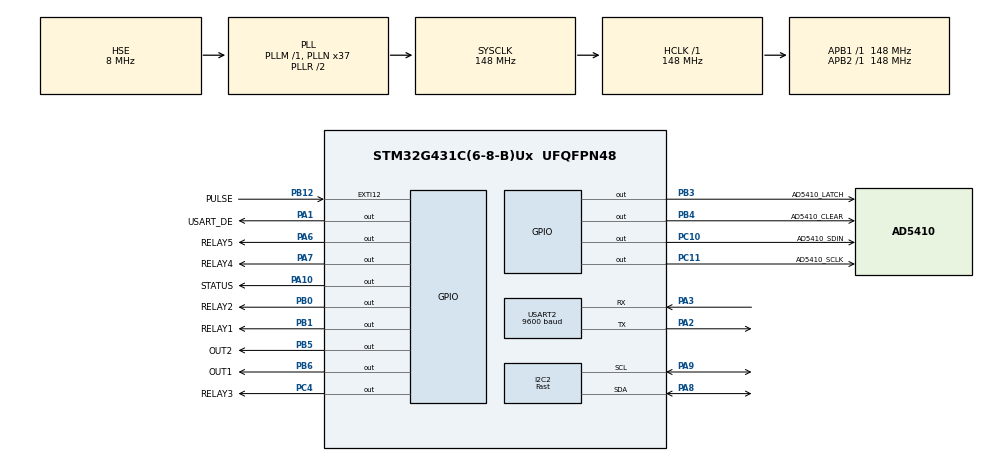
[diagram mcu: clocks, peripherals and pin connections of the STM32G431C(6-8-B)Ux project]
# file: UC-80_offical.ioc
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I2C2.CustomTiming=Disabled
I2C2.I2C_Speed_Mode=I2C_Fast
I2C2.Timing=0x00E05FFE
IWDG.Prescaler=IWDG_PRESCALER_32
Mcu.Family=STM32G4
Mcu.Name=STM32G431C(6-8-B)Ux
Mcu.Package=UFQFPN48
NVIC.EXTI15_10_IRQn=true\:0\:0\:false\:false\:true\:true\:true\:true
NVIC.PriorityGroup=NVIC_PRIORITYGROUP_4
NVIC.TIM1_TRG_COM_TIM17_IRQn=true\:0\:0\:false\:false\:true\:true\:true\:true
NVIC.TIM7_IRQn=true\:0\:0\:false\:false\:true\:true\:true\:true
NVIC.USART2_IRQn=true\:0\:0\:false\:false\:true\:true\:true\:true
PA1.GPIO_Label=USART_DE
PA1.Signal=GPIO_Output
PA10.GPIO_Label=STATUS
PA10.Signal=GPIO_Output
PA13.Mode=Serial_Wire
PA13.Signal=SYS_JTMS-SWDIO
PA14.Mode=Serial_Wire
PA14.Signal=SYS_JTCK-SWCLK
PA2.Mode=Asynchronous
PA2.Signal=USART2_TX
PA3.Mode=Asynchronous
PA3.Signal=USART2_RX
PA6.GPIO_Label=RELAY5
PA6.Signal=GPIO_Output
PA7.GPIO_Label=RELAY4
PA7.Signal=GPIO_Output
PA8.Mode=I2C
PA8.Signal=I2C2_SDA
PA9.Mode=I2C
PA9.Signal=I2C2_SCL
PB0.GPIO_Label=RELAY2
PB0.Signal=GPIO_Output
PB1.GPIO_Label=RELAY1
PB1.Signal=GPIO_Output
PB12.GPIO_Label=PULSE
PB12.GPIO_ModeDefaultEXTI=GPIO_MODE_IT_FALLING
PB12.GPIO_PuPd=GPIO_PULLUP
PB12.Signal=GPXTI12
PB3.GPIO_Label=AD5410_LATCH
PB3.Signal=GPIO_Output
PB4.GPIO_Label=AD5410_CLEAR
PB4.Signal=GPIO_Output
PB5.GPIO_Label=OUT2
PB5.Signal=GPIO_Output
PB6.GPIO_Label=OUT1
PB6.Signal=GPIO_Output
PC10.GPIO_Label=AD5410_SDIN
PC10.Signal=GPIO_Output
PC11.GPIO_Label=AD5410_SCLK
PC11.Signal=GPIO_Output
PC14-OSC32_IN.Mode=LSE-External-Oscillator
PC14-OSC32_IN.Signal=RCC_OSC32_IN
PC15-OSC32_OUT.Mode=LSE-External-Oscillator
PC15-OSC32_OUT.Signal=RCC_OSC32_OUT
PC4.GPIO_Label=RELAY3
PC4.Signal=GPIO_Output
PF0-OSC_IN.Mode=HSE-External-Oscillator
PF0-OSC_IN.Signal=RCC_OSC_IN
PF1-OSC_OUT.Mode=HSE-External-Oscillator
PF1-OSC_OUT.Signal=RCC_OSC_OUT
ProjectManager.HeapSize=0x200
ProjectManager.StackSize=0x400
ProjectManager.TargetToolchain=STM32CubeIDE
RCC.ADC12Freq_Value=148000000
RCC.AHBFreq_Value=148000000
RCC.APB1Freq_Value=148000000
RCC.APB1TimFreq_Value=148000000
RCC.APB2Freq_Value=148000000
RCC.APB2TimFreq_Value=148000000
RCC.CortexFreq_Value=148000000
RCC.EXTERNAL_CLOCK_VALUE=12288000
RCC.HCLKFreq_Value=148000000
RCC.HSE_VALUE=8000000
RCC.HSI48_VALUE=48000000
RCC.HSI_VALUE=16000000
RCC.PLLN=37
RCC.PLLSourceVirtual=RCC_PLLSOURCE_HSE
RCC.SYSCLKFreq_VALUE=148000000
RCC.SYSCLKSource=RCC_SYSCLKSOURCE_PLLCLK
RCC.USBFreq_Value=148000000
RCC.VCOOutputFreq_Value=296000000
TIM16.PeriodNoDither=1
TIM16.Prescaler=147
TIM17.PeriodNoDither=49
TIM17.Prescaler=7399
TIM7.PeriodNoDither=5000
TIM7.Prescaler=14799
USART2.BaudRate=9600
USART2.OverrunDisableParam=ADVFEATURE_OVERRUN_DISABLE
USART2.Parity=PARITY_EVEN
USART2.VirtualMode-Asynchronous=VM_ASYNC
USART2.WordLength=WORDLENGTH_9B
VP_IWDG_VS_IWDG.Mode=IWDG_Activate
VP_TIM16_VS_ClockSourceINT.Mode=Enable_Timer
VP_TIM17_VS_ClockSourceINT.Mode=Enable_Timer
VP_TIM7_VS_ClockSourceINT.Mode=Enable_Timer
board=custom

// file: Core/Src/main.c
/* USER CODE BEGIN Header */
/**
  ******************************************************************************
  * @file           : main.c
  * @brief          : Main program body
  ******************************************************************************
  * @attention
  *
  * Copyright (c) 2023 STMicroelectronics.
  * All rights reserved.
  *
  * This software is licensed under terms that can be found in the LICENSE file
  * in the root directory of this software component.
  * If no LICENSE file comes with this software, it is provided AS-IS.
  *
  ******************************************************************************
  */
/* USER CODE END Header */
#include "main.h"

/* USER CODE BEGIN Includes */
#include "mb.h"
#include "mbport.h"
#include "portrw.h"
#include "DAC5410.h"
#include "MS1112.h"
/* USER CODE END Includes */

/* USER CODE BEGIN PTD */
SYS_TypeDef sys;
/* USER CODE END PTD */

/* USER CODE BEGIN PD */
#define AI_SOOMTH_PAR (0.2)

#define OUTV1(x)  HAL_GPIO_WritePin(OUT1_GPIO_Port, OUT1_Pin, x)
#define OUTV2(x)  HAL_GPIO_WritePin(OUT2_GPIO_Port, OUT2_Pin, x)

#define RELAY1(x) HAL_GPIO_WritePin(RELAY1_GPIO_Port, RELAY1_Pin, x)
#define RELAY2(x) HAL_GPIO_WritePin(RELAY2_GPIO_Port, RELAY2_Pin, x)
#define RELAY3(x) HAL_GPIO_WritePin(RELAY3_GPIO_Port, RELAY3_Pin, x)
#define RELAY4(x) HAL_GPIO_WritePin(RELAY4_GPIO_Port, RELAY4_Pin, x)
#define RELAY5(x) HAL_GPIO_WritePin(RELAY5_GPIO_Port, RELAY5_Pin, x)

#define MB_POLL_MS 50

/* USER CODE END PD */

I2C_HandleTypeDef hi2c2;

IWDG_HandleTypeDef hiwdg;

TIM_HandleTypeDef htim7;
TIM_HandleTypeDef htim16;
TIM_HandleTypeDef htim17;

UART_HandleTypeDef huart2;

/* USER CODE BEGIN PV */

CONTROL_SETTINGS_t control_settings = {
    .usOutV1  = 1,
    .usOutV2  = 1,
};

CONTROL_RELAY_t control_relay = {
    .usRelay1=  0,
	.usRelay2=  0,
	.usRelay3=  0,
	.usRelay4=  0,
	.usRelay5=  0,
};

/* USER CODE END PV */

void SystemClock_Config(void);
static void MX_GPIO_Init(void);
static void MX_TIM17_Init(void);
static void MX_USART2_UART_Init(void);
static void MX_I2C2_Init(void);
static void MX_TIM16_Init(void);
static void MX_IWDG_Init(void);
static void MX_TIM7_Init(void);

/* USER CODE BEGIN 0 */
MA2AI2AOREG_TypeDef Ma2Ai2AoReg;
PULSE_TypeDef PulseReg;

uint16_t pulse_num = 0;
uint16_t freq = 0;
uint8_t level = 0;

uint16_t ModbusPollCount=0;

uint8_t pulse_flag = 0;

extern void SystemTickCallBack(void);
void SystemTickCallBack(void)
{
	  ModbusPollCount++;
	  if(ModbusPollCount>MB_POLL_MS)
	  {
		 eMBPoll();
		 ModbusPollCount=0;
	  }
}

void HAL_GPIO_EXTI_Callback(uint16_t GPIO_Pin)
{
	/* Pulse count  */
	if(GPIO_Pin == PULSE_Pin)
	{
      if (pulse_num < 10000)
      {
        pulse_num++;
      }
	   else if ( pulse_num ==0)
	  {
	   	 pulse_flag = 0;
	  }
	}
}

uint8_t RequestAddr=0;

FLASH_ADDR gFlashAddr;

void Flash_Init(void)
{
//flash addr------------128K bytes--------------------------------------------
		//no boot code

		gFlashAddr.ParaSize = 8 * FLASH_PAGE_SIZE;					//8*1024	cct6 256kb
		gFlashAddr.ParaAddr = FLASH_SIZE - gFlashAddr.ParaSize;		//256 *1024	-16384

}

static uint32_t GetPage(uint32_t Addr)
{
	uint32_t page = 0;

	if (Addr < (FLASH_BASE + FLASH_BANK_SIZE))
	{
	/* Bank 1 */
	page = (Addr - FLASH_BASE) / FLASH_PAGE_SIZE;
	}
	else
	{
	/* Bank 2 */
	page = (Addr - (FLASH_BASE + FLASH_BANK_SIZE)) / FLASH_PAGE_SIZE;
	}

	return page;
}

uint32_t FirstPage = 0, NbOfPages = 0, BankNumber = 0;
uint32_t PAGEError = 0;
int16_t Flash_Write(uint32_t addr, uint8_t *pData, uint32_t len)
{
	static FLASH_EraseInitTypeDef EraseInitStruct;
	int16_t rc;
	uint32_t Addr;
	uint64_t data64;
	uint32_t count;

	count = 0;
	rc = 0;
	Addr = addr;

	HAL_FLASH_Unlock();

	while (count < len)
	{
		if (Addr % FLASH_PAGE_SIZE == 0)
		{
			/* Clear OPTVERR bit set on virgin samples */
			__HAL_FLASH_CLEAR_FLAG(FLASH_FLAG_OPTVERR);
			/* Get the 1st page to erase */
			FirstPage = GetPage(addr);
			/* Get the number of pages to erase from 1st page */
			NbOfPages = 1;//GetPage(FLASH_USER_END_ADDR) - FirstPage + 1;
			/* Get the bank */
			BankNumber = FLASH_BANK_1;

			/* Fill EraseInit structure*/
			EraseInitStruct.TypeErase   = FLASH_TYPEERASE_PAGES;
			EraseInitStruct.Banks       = BankNumber;
			EraseInitStruct.Page        = FirstPage;
			EraseInitStruct.NbPages     = NbOfPages;
			if (HAL_FLASHEx_Erase(&EraseInitStruct, &PAGEError) != HAL_OK)
			{
       		   rc = -1;
       		   break;
			}
		}

		data64 = pData[count + 7];
		data64 <<= 8;
		data64 += pData[count + 6];
		data64 <<= 8;
		data64 += pData[count + 5];
		data64 <<= 8;
		data64 += pData[count + 4];
		data64 <<= 8;
		data64 += pData[count + 3];
		data64 <<= 8;
		data64 += pData[count + 2];
		data64 <<= 8;
		data64 += pData[count + 1];
		data64 <<= 8;
		data64 += pData[count];

		if (HAL_FLASH_Program(FLASH_TYPEPROGRAM_DOUBLEWORD, Addr, data64) != HAL_OK)
		{
			rc = -2;
			break;
		}
		count += 8;
		Addr += 8;
	}
	HAL_FLASH_Lock();

	return rc;
}

int16_t Flash_Read(uint32_t addr, uint8_t *pData, uint32_t len)
{
	int rc;
	uint32_t Addr;
	uint64_t data64;
	uint32_t count;
	int i;

	count = 0;
	rc = 0;
	Addr = addr;

	while (count < len)
	{
		data64 = *(__IO uint64_t *)Addr;
		for (i = 0; i < 8 && count + i < len; i++)
			pData[count + i] = (data64 >> (i * 8));
		count += 8;
		Addr += 8;
	}

	return rc;
}

int16_t Flash_SaveSysConfig(SYS_TypeDef *sys)
{
    return Flash_Write(gFlashAddr.ParaAddr, (uint8_t *)sys, sizeof(SYS_TypeDef));
}

int16_t Flash_LoadSysConfig(SYS_TypeDef *sys)
{
    int rc = 0;
    rc = Flash_Read(gFlashAddr.ParaAddr, (uint8_t *)sys, sizeof(SYS_TypeDef));

    if (sys->Baudrate < 1200 || sys->Baudrate > 115200)
    {
    	return rc = -1;
    }
    if ( sys->Parity > MB_PAR_EVEN)
	{
		return rc = -2;
	}
    return rc;
}

/* USER CODE END 0 */

int main(void)
{

  /* MCU Configuration--------------------------------------------------------*/

  /* Reset of all peripherals, Initializes the Flash interface and the Systick. */
  HAL_Init();

  /* USER CODE BEGIN Init */
  Flash_Init();
  if((Flash_LoadSysConfig(&sys))!= HAL_OK)
  {
	  sys.Baudrate = 9600;
	  sys.Parity = MB_PAR_EVEN;
	  Flash_SaveSysConfig(&sys);
  };
  /* USER CODE END Init */

  /* Configure the system clock */
  SystemClock_Config();

  /* Initialize all configured peripherals */
  MX_GPIO_Init();
  MX_TIM17_Init();
  MX_USART2_UART_Init();
  MX_I2C2_Init();
  MX_TIM16_Init();
  MX_IWDG_Init();
  MX_TIM7_Init();
  /* USER CODE BEGIN 2 */
  Ma2Ai2AoReg.AI1 = 1;
  Ma2Ai2AoReg.AI2 = 2;
  Ma2Ai2AoReg.AO1 = 400;
  Ma2Ai2AoReg.AO2 = 400;
  PulseReg.usLevel_status = 0;
  PulseReg.usPulse_num = 0;
  HAL_TIM_Base_Start_IT(&htim7);

  AD5410_init();
  AD5410_IOUTx100(Ma2Ai2AoReg.AO2,Ma2Ai2AoReg.AO1);

  eMBInit(MB_RTU,FLOW_SLAVE_ADDR,0, sys.Baudrate, sys.Parity);
  eMBEnable();
  /* USER CODE END 2 */

  /* Infinite loop */
  while (1)
  {

    /* USER CODE BEGIN 3 */
	  /* Power_switch*/
	  OUTV1(control_settings.usOutV1 == 0 ? 0 : 1);
	  OUTV2(control_settings.usOutV2 == 0 ? 0 : 1);
	  /* Relay control  */
	  RELAY1(control_relay.usRelay1 == 0 ? 0 : 1);
	  RELAY2(control_relay.usRelay2 == 0 ? 0 : 1);
	  RELAY3(control_relay.usRelay3 == 0 ? 0 : 1);
	  RELAY4(control_relay.usRelay4 == 0 ? 0 : 1);
	  RELAY5(control_relay.usRelay5 == 0 ? 0 : 1);
	  /* AI AO  */
	  AD5410_IOUTx100(Ma2Ai2AoReg.AO2,Ma2Ai2AoReg.AO1);
	  Ma2Ai2AoReg.AI1= GetCurrentmAx1000(0)*AI_SOOMTH_PAR + Ma2Ai2AoReg.AI1*(1.0-AI_SOOMTH_PAR);
	  Ma2Ai2AoReg.AI2= GetCurrentmAx1000(1)*AI_SOOMTH_PAR + Ma2Ai2AoReg.AI2*(1.0-AI_SOOMTH_PAR);
	  if (HAL_GPIO_ReadPin(PULSE_GPIO_Port, PULSE_Pin)==0)
	  {
		  level = 1;
	  }
	  else
	  {
		  level = 0;
	  }
	  PulseReg.usLevel_status = level;
	  if(MODBUS_isRegWrite)
	  {
		  MODBUS_isRegWrite = 0;
		  Flash_SaveSysConfig(&sys);
	  }
	  HAL_IWDG_Refresh(&hiwdg);
  }
  /* USER CODE END 3 */
}

void SystemClock_Config(void)
{
  RCC_OscInitTypeDef RCC_OscInitStruct = {0};
  RCC_ClkInitTypeDef RCC_ClkInitStruct = {0};

  /** Configure the main internal regulator output voltage
  */
  HAL_PWREx_ControlVoltageScaling(PWR_REGULATOR_VOLTAGE_SCALE1);

  /** Initializes the RCC Oscillators according to the specified parameters
  * in the RCC_OscInitTypeDef structure.
  */
  RCC_OscInitStruct.OscillatorType = RCC_OSCILLATORTYPE_LSI|RCC_OSCILLATORTYPE_HSE;
  RCC_OscInitStruct.HSEState = RCC_HSE_ON;
  RCC_OscInitStruct.LSIState = RCC_LSI_ON;
  RCC_OscInitStruct.PLL.PLLState = RCC_PLL_ON;
  RCC_OscInitStruct.PLL.PLLSource = RCC_PLLSOURCE_HSE;
  RCC_OscInitStruct.PLL.PLLM = RCC_PLLM_DIV1;
  RCC_OscInitStruct.PLL.PLLN = 37;
  RCC_OscInitStruct.PLL.PLLP = RCC_PLLP_DIV2;
  RCC_OscInitStruct.PLL.PLLQ = RCC_PLLQ_DIV2;
  RCC_OscInitStruct.PLL.PLLR = RCC_PLLR_DIV2;
  if (HAL_RCC_OscConfig(&RCC_OscInitStruct) != HAL_OK)
  {
    Error_Handler();
  }

  /** Initializes the CPU, AHB and APB buses clocks
  */
  RCC_ClkInitStruct.ClockType = RCC_CLOCKTYPE_HCLK|RCC_CLOCKTYPE_SYSCLK
                              |RCC_CLOCKTYPE_PCLK1|RCC_CLOCKTYPE_PCLK2;
  RCC_ClkInitStruct.SYSCLKSource = RCC_SYSCLKSOURCE_PLLCLK;
  RCC_ClkInitStruct.AHBCLKDivider = RCC_SYSCLK_DIV1;
  RCC_ClkInitStruct.APB1CLKDivider = RCC_HCLK_DIV1;
  RCC_ClkInitStruct.APB2CLKDivider = RCC_HCLK_DIV1;

  if (HAL_RCC_ClockConfig(&RCC_ClkInitStruct, FLASH_LATENCY_4) != HAL_OK)
  {
    Error_Handler();
  }
}

static void MX_I2C2_Init(void)
{

  hi2c2.Instance = I2C2;
  hi2c2.Init.Timing = 0x00E05FFE;
  hi2c2.Init.OwnAddress1 = 0;
  hi2c2.Init.AddressingMode = I2C_ADDRESSINGMODE_7BIT;
  hi2c2.Init.DualAddressMode = I2C_DUALADDRESS_DISABLE;
  hi2c2.Init.OwnAddress2 = 0;
  hi2c2.Init.OwnAddress2Masks = I2C_OA2_NOMASK;
  hi2c2.Init.GeneralCallMode = I2C_GENERALCALL_DISABLE;
  hi2c2.Init.NoStretchMode = I2C_NOSTRETCH_DISABLE;
  if (HAL_I2C_Init(&hi2c2) != HAL_OK)
  {
    Error_Handler();
  }

  /** Configure Analogue filter
  */
  if (HAL_I2CEx_ConfigAnalogFilter(&hi2c2, I2C_ANALOGFILTER_ENABLE) != HAL_OK)
  {
    Error_Handler();
  }

  /** Configure Digital filter
  */
  if (HAL_I2CEx_ConfigDigitalFilter(&hi2c2, 0) != HAL_OK)
  {
    Error_Handler();
  }

}

static void MX_IWDG_Init(void)
{

  hiwdg.Instance = IWDG;
  hiwdg.Init.Prescaler = IWDG_PRESCALER_32;
  hiwdg.Init.Window = 4095;
  hiwdg.Init.Reload = 4095;
  if (HAL_IWDG_Init(&hiwdg) != HAL_OK)
  {
    Error_Handler();
  }

}

static void MX_TIM7_Init(void)
{

  TIM_MasterConfigTypeDef sMasterConfig = {0};

  htim7.Instance = TIM7;
  htim7.Init.Prescaler = 14799;
  htim7.Init.CounterMode = TIM_COUNTERMODE_UP;
  htim7.Init.Period = 5000;
  htim7.Init.AutoReloadPreload = TIM_AUTORELOAD_PRELOAD_DISABLE;
  if (HAL_TIM_Base_Init(&htim7) != HAL_OK)
  {
    Error_Handler();
  }
  sMasterConfig.MasterOutputTrigger = TIM_TRGO_RESET;
  sMasterConfig.MasterSlaveMode = TIM_MASTERSLAVEMODE_DISABLE;
  if (HAL_TIMEx_MasterConfigSynchronization(&htim7, &sMasterConfig) != HAL_OK)
  {
    Error_Handler();
  }

}

static void MX_TIM16_Init(void)
{

  htim16.Instance = TIM16;
  htim16.Init.Prescaler = 147;
  htim16.Init.CounterMode = TIM_COUNTERMODE_UP;
  htim16.Init.Period = 1;
  htim16.Init.ClockDivision = TIM_CLOCKDIVISION_DIV1;
  htim16.Init.RepetitionCounter = 0;
  htim16.Init.AutoReloadPreload = TIM_AUTORELOAD_PRELOAD_DISABLE;
  if (HAL_TIM_Base_Init(&htim16) != HAL_OK)
  {
    Error_Handler();
  }

}

static void MX_TIM17_Init(void)
{

  /* USER CODE BEGIN TIM17_Init 1 */
#if 0
  /* USER CODE END TIM17_Init 1 */
  htim17.Instance = TIM17;
  htim17.Init.Prescaler = 7399;
  htim17.Init.CounterMode = TIM_COUNTERMODE_UP;
  htim17.Init.Period = 49;
  htim17.Init.ClockDivision = TIM_CLOCKDIVISION_DIV1;
  htim17.Init.RepetitionCounter = 0;
  htim17.Init.AutoReloadPreload = TIM_AUTORELOAD_PRELOAD_DISABLE;
  if (HAL_TIM_Base_Init(&htim17) != HAL_OK)
  {
    Error_Handler();
  }
  /* USER CODE BEGIN TIM17_Init 2 */
#endif
  /* USER CODE END TIM17_Init 2 */

}

static void MX_USART2_UART_Init(void)
{

  huart2.Instance = USART2;
//  huart2.Init.BaudRate = 9600;
  huart2.Init.BaudRate = sys.Baudrate;
//  huart2.Init.WordLength = UART_WORDLENGTH_9B;
  huart2.Init.StopBits = UART_STOPBITS_1;
//  huart2.Init.Parity = UART_PARITY_EVEN;
  switch(sys.Parity) {
  case MB_PAR_NONE:
      huart2.Init.Parity   = UART_PARITY_NONE;
      huart2.Init.WordLength = UART_WORDLENGTH_8B;
      break;
  case MB_PAR_ODD:
      huart2.Init.Parity   = UART_PARITY_ODD;
      huart2.Init.WordLength = UART_WORDLENGTH_9B; // 带奇偶通常 9bit
      break;
  case MB_PAR_EVEN:
      huart2.Init.Parity   = UART_PARITY_EVEN;
      huart2.Init.WordLength = UART_WORDLENGTH_9B;
      break;
  default:
	  huart2.Init.Parity   = UART_PARITY_EVEN;
	  huart2.Init.WordLength = UART_WORDLENGTH_9B;
}
//  huart2.Init.Parity = UART_PARITY_EVEN;
  huart2.Init.Mode = UART_MODE_TX_RX;
  huart2.Init.HwFlowCtl = UART_HWCONTROL_NONE;
  huart2.Init.OverSampling = UART_OVERSAMPLING_16;
  huart2.Init.OneBitSampling = UART_ONE_BIT_SAMPLE_DISABLE;
  huart2.Init.ClockPrescaler = UART_PRESCALER_DIV1;
  huart2.AdvancedInit.AdvFeatureInit = UART_ADVFEATURE_RXOVERRUNDISABLE_INIT;
  huart2.AdvancedInit.OverrunDisable = UART_ADVFEATURE_OVERRUN_DISABLE;
  if (HAL_UART_Init(&huart2) != HAL_OK)
  {
    Error_Handler();
  }
  if (HAL_UARTEx_SetTxFifoThreshold(&huart2, UART_TXFIFO_THRESHOLD_1_8) != HAL_OK)
  {
    Error_Handler();
  }
  if (HAL_UARTEx_SetRxFifoThreshold(&huart2, UART_RXFIFO_THRESHOLD_1_8) != HAL_OK)
  {
    Error_Handler();
  }
  if (HAL_UARTEx_DisableFifoMode(&huart2) != HAL_OK)
  {
    Error_Handler();
  }

}

static void MX_GPIO_Init(void)
{
  GPIO_InitTypeDef GPIO_InitStruct = {0};

  /* GPIO Ports Clock Enable */
  __HAL_RCC_GPIOC_CLK_ENABLE();
  __HAL_RCC_GPIOF_CLK_ENABLE();
  __HAL_RCC_GPIOA_CLK_ENABLE();
  __HAL_RCC_GPIOB_CLK_ENABLE();

  /*Configure GPIO pin Output Level */
  HAL_GPIO_WritePin(GPIOA, USART_DE_Pin|RELAY5_Pin|RELAY4_Pin|STATUS_Pin, GPIO_PIN_RESET);

  /*Configure GPIO pin Output Level */
  HAL_GPIO_WritePin(GPIOC, RELAY3_Pin|AD5410_SDIN_Pin|AD5410_SCLK_Pin, GPIO_PIN_RESET);

  /*Configure GPIO pin Output Level */
  HAL_GPIO_WritePin(GPIOB, RELAY2_Pin|RELAY1_Pin|AD5410_LATCH_Pin|AD5410_CLEAR_Pin
                          |OUT2_Pin|OUT1_Pin, GPIO_PIN_RESET);

  /*Configure GPIO pins : USART_DE_Pin RELAY5_Pin RELAY4_Pin STATUS_Pin */
  GPIO_InitStruct.Pin = USART_DE_Pin|RELAY5_Pin|RELAY4_Pin|STATUS_Pin;
  GPIO_InitStruct.Mode = GPIO_MODE_OUTPUT_PP;
  GPIO_InitStruct.Pull = GPIO_NOPULL;
  GPIO_InitStruct.Speed = GPIO_SPEED_FREQ_LOW;
  HAL_GPIO_Init(GPIOA, &GPIO_InitStruct);

  /*Configure GPIO pins : RELAY3_Pin AD5410_SDIN_Pin AD5410_SCLK_Pin */
  GPIO_InitStruct.Pin = RELAY3_Pin|AD5410_SDIN_Pin|AD5410_SCLK_Pin;
  GPIO_InitStruct.Mode = GPIO_MODE_OUTPUT_PP;
  GPIO_InitStruct.Pull = GPIO_NOPULL;
  GPIO_InitStruct.Speed = GPIO_SPEED_FREQ_LOW;
  HAL_GPIO_Init(GPIOC, &GPIO_InitStruct);

  /*Configure GPIO pins : RELAY2_Pin RELAY1_Pin AD5410_LATCH_Pin AD5410_CLEAR_Pin
                           OUT2_Pin OUT1_Pin */
  GPIO_InitStruct.Pin = RELAY2_Pin|RELAY1_Pin|AD5410_LATCH_Pin|AD5410_CLEAR_Pin
                          |OUT2_Pin|OUT1_Pin;
  GPIO_InitStruct.Mode = GPIO_MODE_OUTPUT_PP;
  GPIO_InitStruct.Pull = GPIO_NOPULL;
  GPIO_InitStruct.Speed = GPIO_SPEED_FREQ_LOW;
  HAL_GPIO_Init(GPIOB, &GPIO_InitStruct);

  /*Configure GPIO pin : PULSE_Pin */
  GPIO_InitStruct.Pin = PULSE_Pin;
  GPIO_InitStruct.Mode = GPIO_MODE_IT_FALLING;
  GPIO_InitStruct.Pull = GPIO_NOPULL;
  HAL_GPIO_Init(PULSE_GPIO_Port, &GPIO_InitStruct);

  /* EXTI interrupt init*/
  HAL_NVIC_SetPriority(EXTI15_10_IRQn, 0, 0);
  HAL_NVIC_EnableIRQ(EXTI15_10_IRQn);

}

void Error_Handler(void)
{
  __disable_irq();
  while (1)
  {
  }
}
